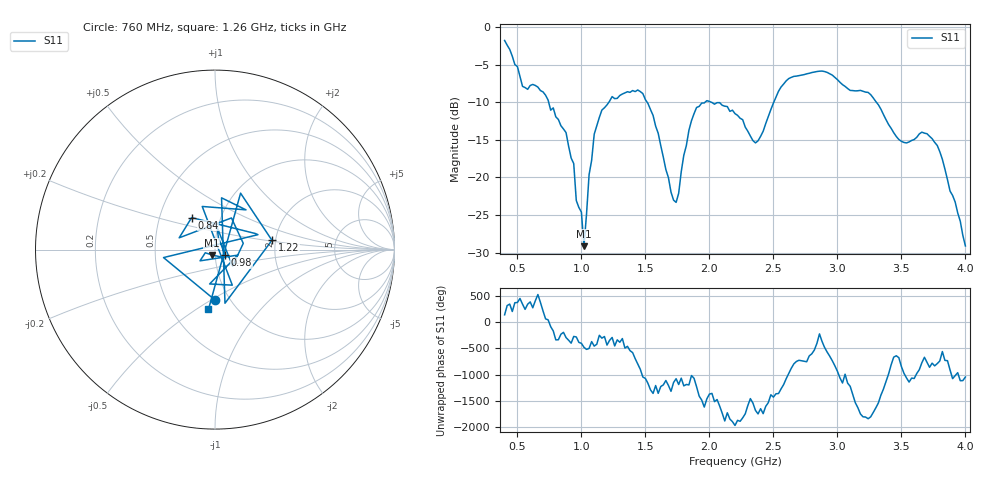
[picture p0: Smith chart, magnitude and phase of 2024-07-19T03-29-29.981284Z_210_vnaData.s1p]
!Created with skrf (http://scikit-rf.org).
# Hz S RI R 50.0
!freq ReS11 ImS11
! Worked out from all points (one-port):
!   181 points, 400 MHz to 4 GHz, reference 50 ohm
!   lowest |S11| = -29.2 dB at 1.02 GHz (marker M1), VSWR 1.07, Z = 48.1 - j2.85 ohm
!   |S11| at or under -10 dB: 744.3 MHz to 1.214 GHz (469.7 MHz wide, 48 % of centre); 2.016 GHz to 2.503 GHz (486.5 MHz wide, 21.5 % of centre); 3.305 GHz to end of sweep (the widest 3 of 4)
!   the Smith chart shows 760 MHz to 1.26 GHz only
!   S11 on the Smith chart (normalised r, x): 760 MHz: 0.85, -0.52; 840 MHz: 0.73, +0.27; 980 MHz: 1.12, -0.07; 1.22 GHz: 1.91, +0.22; 1.26 GHz: 0.75, -0.56
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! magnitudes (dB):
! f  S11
! 400 MHz  -1.8
! 540 MHz  -7.9
! 760 MHz  -11.0
! 840 MHz  -13.1
! 860 MHz  -13.6
! 940 MHz  -18.2
! 960 MHz  -23.1
! 980 MHz  -24.0
! 1 GHz  -24.6
! 1.02 GHz  -29.2
! 1.06 GHz  -19.6
! 1.1 GHz  -14.3
! 1.22 GHz  -9.9
! 1.26 GHz  -9.5
! 1.3 GHz  -9.1
! 1.48 GHz  -8.8
! 1.72 GHz  -23.0
! 1.76 GHz  -22.1
! 1.84 GHz  -13.7
! 1.9 GHz  -10.7
! 2.2 GHz  -11.5
! 2.36 GHz  -15.4
! 2.66 GHz  -6.5
! 3.1 GHz  -8.4
! 3.26 GHz  -9.0
! 3.56 GHz  -15.3
! 3.78 GHz  -15.7
! 4 GHz  -29.1
